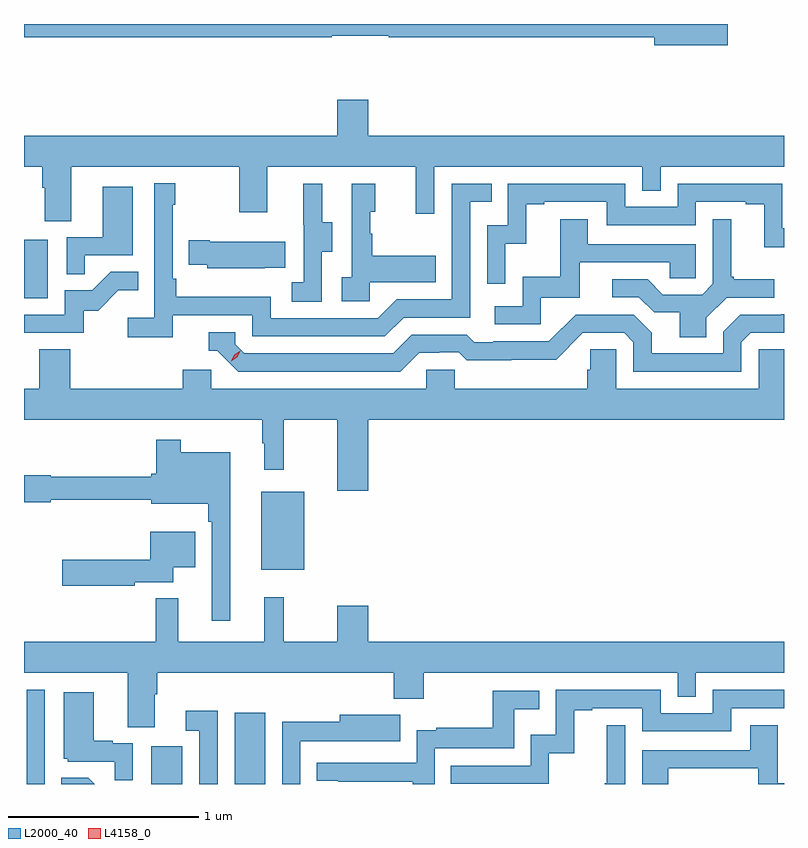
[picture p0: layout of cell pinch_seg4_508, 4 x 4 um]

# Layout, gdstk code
import gdstk
lib = gdstk.Library(unit=1e-6, precision=1e-09)
def R(c, l, rs):  # rectangles x0, y0, x1, y1
    for r in rs: c.add(gdstk.rectangle(r[:2], r[2:], *l))
def P(c, l, *ps):  # polygons
    for p in ps: c.add(gdstk.Polygon(p, *l))
L2000_40 = (2000, 40)
L4158_0 = (4158, 0)

pinch_seg4_508 = lib.new_cell('pinch_seg4_508')
R(pinch_seg4_508, L2000_40, [(990.546,762.935,990.642,763.432), (991.202,762.935,991.366,763.135), (991.64,762.935,991.801,763.309), (991.781,764.063,992.008,764.473), (990.532,765.492,990.658,765.799)])
P(pinch_seg4_508, L2000_40, [(994.237,766.935),(990.532,766.935),(990.532,766.864),(992.152,766.864),(992.152,766.872),(992.452,766.872),(992.452,766.864),(993.848,766.864),(993.848,766.822),(994.237,766.822)],
  [(990.781,766.184),(991.666,766.184),(991.666,765.945),(991.813,765.945),(991.813,766.184),(992.594,766.184),(992.594,765.936),(992.691,765.936),(992.691,766.184),(993.786,766.184),(993.786,766.057),(993.882,766.057),(993.882,766.184),(994.532,766.184),(994.532,766.348),(992.344,766.348),(992.344,766.537),(992.18,766.537),(992.18,766.348),(990.532,766.348),(990.532,766.184),(990.629,766.184),(990.629,766.072),(990.641,766.072),(990.641,765.898),(990.781,765.898)],
  [(991.316,765.402),(991.734,765.402),(991.734,765.291),(992.431,765.291),(992.53,765.39),(992.88,765.39),(992.88,765.999),(992.993,765.999),(992.993,766.095),(992.784,766.095),(992.784,765.486),(992.493,765.486),(992.394,765.387),(991.83,765.387),(991.83,765.499),(991.334,765.499),(991.334,765.595),(991.314,765.595),(991.314,765.983),(991.327,765.983),(991.327,766.096),(991.218,766.096),(991.218,765.388),(991.077,765.388),(991.077,765.286),(991.316,765.286)],
  [(993.066,765.779),(993.176,765.779),(993.176,765.987),(993.271,765.987),(993.271,765.999),(993.6,765.999),(993.6,765.876),(994.068,765.876),(994.068,765.999),(994.331,765.999),(994.331,765.987),(994.427,765.987),(994.427,765.761),(994.532,765.761),(994.532,765.859),(994.524,765.859),(994.524,766.095),(993.972,766.095),(993.972,765.972),(993.696,765.972),(993.696,766.095),(993.078,766.095),(993.078,765.876),(992.97,765.876),(992.97,765.567),(993.066,765.567)],
  [(992.352,765.575),(992.699,765.575),(992.699,765.715),(992.365,765.715),(992.365,765.83),(992.355,765.83),(992.355,765.948),(992.38,765.948),(992.38,766.093),(992.256,766.093),(992.256,765.602),(992.205,765.602),(992.205,765.477),(992.352,765.477)],
  [(992.1,765.736),(992.155,765.736),(992.155,765.891),(992.101,765.891),(992.101,766.093),(992.003,766.093),(992.003,765.879),(992.004,765.879),(992.004,765.575),(991.941,765.575),(991.941,765.472),(992.1,765.472)],
  [(990.851,765.717),(991.105,765.717),(991.105,766.078),(990.947,766.078),(990.947,765.813),(990.756,765.813),(990.756,765.619),(990.851,765.619)],
  [(994.123,765.388),(994.23,765.495),(994.48,765.495),(994.48,765.592),(994.267,765.592),(994.267,765.604),(994.255,765.604),(994.255,765.907),(994.158,765.907),(994.158,765.567),(994.101,765.51),(993.895,765.51),(993.814,765.591),(993.627,765.591),(993.627,765.498),(993.768,765.498),(993.848,765.418),(993.983,765.418),(993.983,765.286),(994.123,765.286)],
  [(993.252,765.495),(993.457,765.495),(993.457,765.681),(993.931,765.681),(993.931,765.597),(994.068,765.597),(994.068,765.777),(993.499,765.777),(993.499,765.907),(993.355,765.907),(993.355,765.604),(993.156,765.604),(993.156,765.45),(993.009,765.45),(993.009,765.354),(993.252,765.354)],
  [(991.799,765.653),(991.907,765.653),(991.907,765.79),(991.51,765.79),(991.51,765.798),(991.399,765.798),(991.399,765.668),(991.497,765.668),(991.497,765.65),(991.799,765.65)],
  [(990.846,765.426),(990.922,765.426),(991.029,765.533),(991.133,765.533),(991.133,765.632),(990.989,765.632),(990.891,765.534),(990.747,765.534),(990.747,765.405),(990.532,765.405),(990.532,765.309),(990.846,765.309)],
  [(992.611,765.204),(992.718,765.204),(992.718,765.207),(992.821,765.207),(992.863,765.165),(993.096,765.165),(993.096,765.167),(993.332,765.167),(993.474,765.309),(993.69,765.309),(993.738,765.261),(993.738,765.105),(994.308,765.105),(994.308,765.261),(994.356,765.309),(994.532,765.309),(994.532,765.407),(994.518,765.407),(994.518,765.405),(994.302,765.405),(994.212,765.315),(994.212,765.201),(993.835,765.201),(993.835,765.311),(993.741,765.405),(993.435,765.405),(993.294,765.264),(993.001,765.264),(993.001,765.261),(992.902,765.261),(992.863,765.3),(992.574,765.3),(992.475,765.201),(991.692,765.201),(991.644,765.249),(991.644,765.312),(991.505,765.312),(991.505,765.216),(991.548,765.216),(991.659,765.105),(992.512,765.105)],
  [(992.344,764.852),(994.532,764.852),(994.532,765.224),(994.398,765.224),(994.398,765.016),(993.648,765.016),(993.648,765.224),(993.511,765.224),(993.511,765.114),(993.497,765.114),(993.497,765.016),(992.799,765.016),(992.799,765.114),(992.649,765.114),(992.649,765.016),(991.518,765.016),(991.518,765.114),(991.367,765.114),(991.367,765.016),(990.776,765.016),(990.776,765.224),(990.611,765.224),(990.611,765.016),(990.532,765.016),(990.532,764.852),(991.785,764.852),(991.785,764.729),(991.796,764.729),(991.796,764.589),(991.898,764.589),(991.898,764.852),(992.18,764.852),(992.18,764.478),(992.344,764.478)],
  [(991.618,764.68),(991.357,764.68),(991.357,764.746),(991.228,764.746),(991.228,764.569),(991.202,764.569),(991.202,764.551),(990.672,764.551),(990.672,764.559),(990.532,764.559),(990.532,764.417),(990.672,764.417),(990.672,764.43),(991.202,764.43),(991.202,764.411),(991.501,764.411),(991.501,764.315),(991.521,764.315),(991.521,763.794),(991.618,763.794)],
  [(991.116,763.997),(991.318,763.997),(991.318,764.075),(991.432,764.075),(991.432,764.263),(991.196,764.263),(991.196,764.115),(990.732,764.115),(990.732,763.978),(991.116,763.978)],
  [(991.219,763.408),(991.232,763.408),(991.232,763.52),(992.477,763.52),(992.477,763.385),(992.637,763.385),(992.637,763.52),(993.972,763.52),(993.972,763.393),(994.068,763.393),(994.068,763.52),(994.532,763.52),(994.532,763.684),(992.344,763.684),(992.344,763.873),(992.18,763.873),(992.18,763.684),(991.898,763.684),(991.898,763.918),(991.796,763.918),(991.796,763.684),(991.343,763.684),(991.343,763.912),(991.225,763.912),(991.225,763.684),(990.532,763.684),(990.532,763.52),(991.079,763.52),(991.079,763.234),(991.219,763.234)],
  [(993.294,763.097),(993.427,763.097),(993.427,763.323),(993.523,763.323),(993.523,763.335),(993.786,763.335),(993.786,763.212),(994.254,763.212),(994.254,763.335),(994.532,763.335),(994.532,763.431),(994.158,763.431),(994.158,763.308),(993.882,763.308),(993.882,763.431),(993.33,763.431),(993.33,763.195),(993.198,763.195),(993.198,763.032),(992.779,763.032),(992.779,762.936),(993.294,762.936)],
  [(992.694,763.122),(993.111,763.122),(993.111,763.328),(993.245,763.328),(993.245,763.425),(993,763.425),(993,763.231),(992.701,763.231),(992.701,763.219),(992.598,763.219),(992.598,763.047),(992.073,763.047),(992.073,762.951),(992.185,762.951),(992.185,762.946),(992.578,762.946),(992.578,762.935),(992.694,762.935)],
  [(991.104,763.149),(990.998,763.149),(990.998,763.162),(990.898,763.162),(990.898,763.417),(990.74,763.417),(990.74,763.068),(990.762,763.068),(990.762,763.053),(991.009,763.053),(991.009,762.955),(991.104,762.955)],
  [(991.551,763.321),(991.383,763.321),(991.383,763.215),(991.455,763.215),(991.455,762.935),(991.551,762.935)],
  [(991.986,763.161),(992.299,763.161),(992.299,763.16),(992.513,763.16),(992.513,763.3),(992.195,763.3),(992.195,763.262),(991.89,763.262),(991.89,762.935),(991.986,762.935)],
  [(993.923,763.017),(994.397,763.017),(994.397,762.935),(994.532,762.935),(994.532,762.94),(994.499,762.94),(994.499,763.243),(994.355,763.243),(994.355,763.113),(993.786,763.113),(993.786,762.935),(993.923,762.935)],
  [(993.696,763.243),(993.599,763.243),(993.599,762.94),(993.588,762.94),(993.588,762.935),(993.696,762.935)],
  [(990.871,762.968),(990.727,762.968),(990.727,762.935),(990.904,762.935)])
P(pinch_seg4_508, L4158_0, [(991.623,765.161),(991.623,765.161),(991.639,765.194),(991.67,765.214),(991.67,765.214),(991.67,765.213),(991.654,765.18),(991.623,765.161)])

lib.write_gds('pinch_seg4_508.gds')
